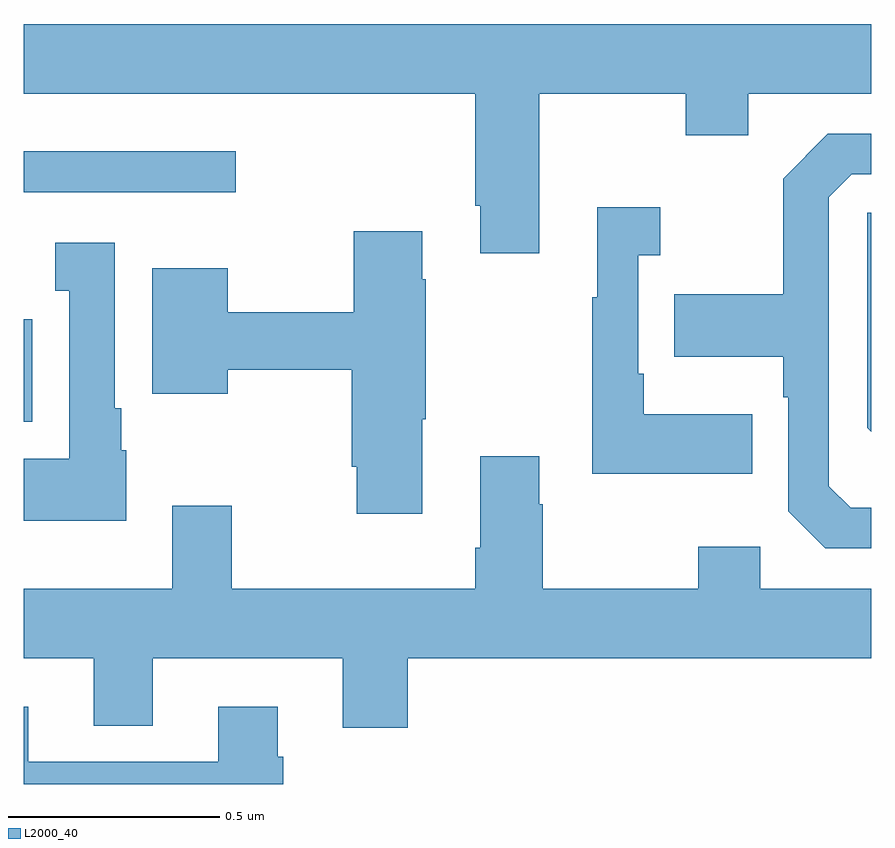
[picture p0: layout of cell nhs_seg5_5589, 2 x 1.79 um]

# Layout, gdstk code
import gdstk
lib = gdstk.Library(unit=1e-6, precision=1e-09)
def R(c, l, rs):  # rectangles x0, y0, x1, y1
    for r in rs: c.add(gdstk.rectangle(r[:2], r[2:], *l))
def P(c, l, *ps):  # polygons
    for p in ps: c.add(gdstk.Polygon(p, *l))
L2000_40 = (2000, 40)

nhs_seg5_5589 = lib.new_cell('nhs_seg5_5589')
R(nhs_seg5_5589, L2000_40, [(185,854.654,185.02,854.896), (185,855.195,185.5,855.292)])
P(nhs_seg5_5589, L2000_40, [(186.217,855.428),(186.562,855.428),(186.562,855.329),(186.709,855.329),(186.709,855.428),(187,855.428),(187,855.592),(185,855.592),(185,855.428),(186.065,855.428),(186.065,855.163),(186.077,855.163),(186.077,855.051),(186.217,855.051)],
  [(187,854.451),(186.951,854.451),(186.9,854.502),(186.9,855.183),(186.954,855.237),(187,855.237),(187,855.333),(186.897,855.333),(186.792,855.227),(186.792,854.955),(186.535,854.955),(186.535,854.807),(186.792,854.807),(186.792,854.711),(186.804,854.711),(186.804,854.442),(186.891,854.355),(187,854.355)],
  [(186.719,854.671),(186.463,854.671),(186.463,854.767),(186.45,854.767),(186.45,855.047),(186.502,855.047),(186.502,855.16),(186.353,855.16),(186.353,854.947),(186.342,854.947),(186.342,854.531),(186.719,854.531)],
  [(187,855.147),(186.99,855.147),(186.99,854.64),(187,854.63)],
  [(185.941,854.659),(185.949,854.659),(185.949,854.99),(185.941,854.99),(185.941,855.103),(185.779,855.103),(185.779,854.912),(185.482,854.912),(185.482,855.016),(185.303,855.016),(185.303,854.72),(185.482,854.72),(185.482,854.776),(185.774,854.776),(185.774,854.548),(185.786,854.548),(185.786,854.436),(185.941,854.436)],
  [(185.242,854.586),(185.23,854.586),(185.23,854.686),(185.215,854.686),(185.215,855.076),(185.075,855.076),(185.075,854.963),(185.108,854.963),(185.108,854.566),(185,854.566),(185,854.42),(185.242,854.42)],
  [(185.906,854.096),(187,854.096),(187,854.26),(186.738,854.26),(186.738,854.359),(186.592,854.359),(186.592,854.26),(186.225,854.26),(186.225,854.459),(186.217,854.459),(186.217,854.572),(186.077,854.572),(186.077,854.356),(186.065,854.356),(186.065,854.26),(185.491,854.26),(185.491,854.455),(185.351,854.455),(185.351,854.26),(185,854.26),(185,854.096),(185.165,854.096),(185.165,853.936),(185.305,853.936),(185.305,854.096),(185.753,854.096),(185.753,853.932),(185.906,853.932)],
  [(185.612,853.863),(185.599,853.863),(185.599,853.981),(185.459,853.981),(185.459,853.851),(185.011,853.851),(185.011,853.981),(185,853.981),(185,853.799),(185.612,853.799)])

lib.write_gds('nhs_seg5_5589.gds')
